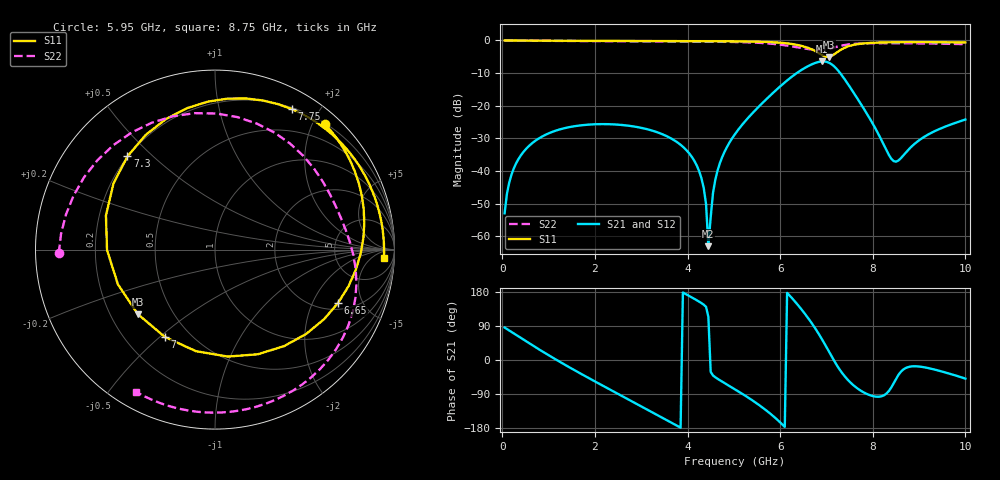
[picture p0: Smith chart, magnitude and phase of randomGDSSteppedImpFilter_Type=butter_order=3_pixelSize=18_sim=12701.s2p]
! freq	dB(S11)	phase(S11)	dB(S12)	phase(S12)
!  dB(S21)	phase(S21)	dB(S22)	phase(S22)
!S-par simulation data
#  GHz  S  DB  R 50
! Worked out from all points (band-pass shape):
!   200 points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, 50 MHz to 10 GHz, reference 50 ohm
!   highest |S21| = -6.42 dB at 6.9 GHz (marker M1); lowest = -63.0 dB at 4.45 GHz (marker M2)
!   |S21| within 3 dB of the highest: 6.418 GHz to 7.263 GHz (845 MHz wide, 12.4 % of centre)
!   lowest |S11| = -5.0 dB at 7.05 GHz (marker M3), VSWR 3.55, Z = 15.8 - j16.5 ohm
!   |S11| at or under -10 dB: nowhere
!   |S22| runs from -3.0 to 0.0 dB; largest |S21 - S12| = 0
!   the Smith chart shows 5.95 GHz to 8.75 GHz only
!   S11 on the Smith chart (normalised r, x): 5.95 GHz: 0.21, +2.18; 6.65 GHz: 2.36, -3.18; 7 GHz: 0.37, -0.52; 7.3 GHz: 0.20, +0.42; 7.75 GHz: 0.22, +1.66; 8.75 GHz: 20, -17
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0.05  -0.00 -3.2  -52.95 85.5  -52.95 85.5  -0.00 -4.8
0.3  -0.03 -19.2  -37.60 66.0  -37.60 66.0  -0.04 -28.5
0.9  -0.08 -56.3  -29.12 20.0  -29.12 20.0  -0.11 -83.7
1.75  -0.13 -103.9  -25.92 -39.9  -25.92 -39.9  -0.19 -158.1
2.7  -0.16 -150.5  -26.07 -102.5  -26.07 -102.5  -0.26 119.6
3.4  -0.19 177.8  -28.40 -148.5  -28.40 -148.5  -0.30 57.4
4.2  -0.22 142.0  -38.32 157.6  -38.32 157.6  -0.34 -11.7
4.4  -0.23 132.9  -50.12 140.3  -50.12 140.3  -0.36 -28.4
4.45  -0.23 130.5  -63.01 113.8  -63.01 113.8  -0.37 -32.5
4.6  -0.24 123.5  -42.63 -45.6  -42.63 -45.6  -0.39 -44.9
5.05  -0.28 101.6  -28.19 -79.1  -28.19 -79.1  -0.48 -82.7
5.95  -0.64 48.9  -14.71 -158.9  -14.71 -158.9  -1.20 -178.6
6.65  -2.53 -23.4  -7.54 102.8  -7.54 102.8  -2.72 63.0
6.7  -2.84 -32.5  -7.21 94.0  -7.21 94.0  -2.81 54.7
6.9  -4.43 -83.2  -6.42 55.4  -6.42 55.4  -2.97 26.0
7  -5.02 -119.8  -6.54 33.9  -6.54 33.9  -2.81 14.1
7.05  -5.03 -140.1  -6.79 22.9  -6.79 22.9  -2.66 8.6
7.3  -2.94 133.2  -10.08 -27.9  -10.08 -27.9  -1.64 -19.0
7.75  -0.99 61.4  -19.62 -81.6  -19.62 -81.6  -0.94 -60.9
8.35  -0.57 17.6  -35.12 -81.4  -35.12 -81.4  -0.83 -98.9
8.75  -0.51 -2.8  -33.78 -19.2  -33.78 -19.2  -0.86 -119.0
10  -0.61 -52.0  -24.22 -49.1  -24.22 -49.1  -1.14 -174.5
